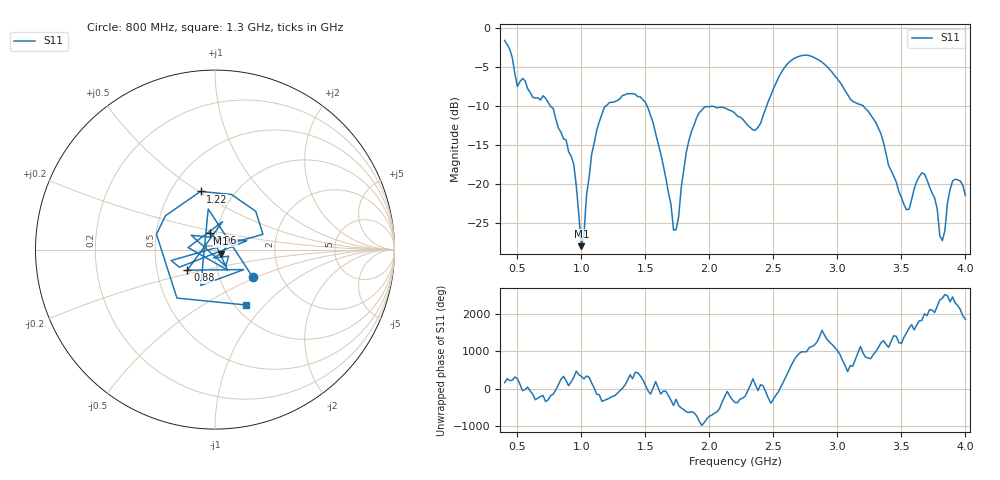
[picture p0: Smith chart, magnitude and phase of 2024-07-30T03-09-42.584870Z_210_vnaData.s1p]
!Created with skrf (http://scikit-rf.org).
# Hz S RI R 50.0
!freq ReS11 ImS11
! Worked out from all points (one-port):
!   181 points, 400 MHz to 4 GHz, reference 50 ohm
!   lowest |S11| = -28.0 dB at 1 GHz (marker M1), VSWR 1.08, Z = 53.3 - j2.43 ohm
!   |S11| at or under -10 dB: 757.6 MHz to 1.19 GHz (432.7 MHz wide, 44.4 % of centre); 1.513 GHz to 2.447 GHz (933.5 MHz wide, 47.1 % of centre); 3.203 GHz to end of sweep
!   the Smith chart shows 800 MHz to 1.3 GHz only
!   S11 on the Smith chart (normalised r, x): 800 MHz: 1.44, -0.48; 880 MHz: 0.72, -0.17; 960 MHz: 0.93, +0.18; 1.22 GHz: 0.70, +0.51; 1.3 GHz: 1.12, -0.79
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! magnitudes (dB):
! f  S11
! 400 MHz  -1.6
! 500 MHz  -7.5
! 800 MHz  -11.7
! 860 MHz  -14.2
! 880 MHz  -14.3
! 960 MHz  -20.3
! 1 GHz  -28.0
! 1.08 GHz  -16.2
! 1.22 GHz  -9.5
! 1.3 GHz  -9.1
! 1.5 GHz  -9.5
! 1.62 GHz  -16.1
! 1.72 GHz  -25.9
! 1.76 GHz  -24.2
! 1.82 GHz  -15.9
! 1.92 GHz  -10.9
! 2.2 GHz  -10.9
! 2.36 GHz  -13.1
! 2.66 GHz  -3.9
! 2.86 GHz  -4.1
! 3.1 GHz  -9.1
! 3.3 GHz  -12.1
! 3.56 GHz  -23.3
! 3.68 GHz  -18.7
! 3.76 GHz  -21.8
! 3.82 GHz  -27.3
! 3.9 GHz  -19.6
! 4 GHz  -21.5
